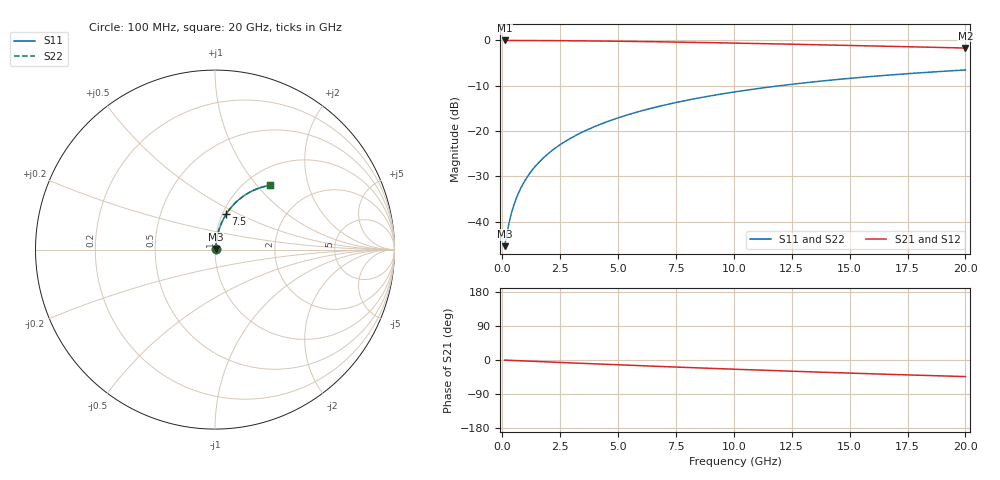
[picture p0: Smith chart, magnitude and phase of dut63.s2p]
! Touchstone file exported from HFSS 2024.1.0
!  File:  C:/UserFiles/LocalFiles/RDL_TSV_Batchsim/temp_RDL_bottom_63_1778693504.aedt
!  Generated:  01:34:40 AM May 14, 2026
!  Design:  RDL_bottom
!  Project:  temp_RDL_bottom_63_1778693504
!  Setup:  Setup1
!  Solution:  Sweep
! Variables:
!  dtsv = 10.80580581um
!  hbump = 3um
!  htsv = 92.89um
!  ldown = 588.78um
!  lrdl = 100um
!  p = 40
!  p1 = 45.25um
!  rhole = 1um
!  t = 450um
!  tdown = 3.76um
!  trdl = 3.915915916um
!  wdown = 12.54um
!  wrdl = 20um
# GHz S MA R 50.000000
! Terminal data exported
! Port[1] = RDL1_T1
! Port[2] = RDL1_T2
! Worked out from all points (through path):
!   200 points, 100 MHz to 20 GHz, reference 50 ohm
!   highest |S21| = -0.04 dB at 100 MHz (marker M1); lowest = -1.7 dB at 20 GHz (marker M2)
!   group delay of S21, straight-line fit = 6.08 ps
!   lowest |S11| = -45.4 dB at 100 MHz (marker M3), VSWR 1.01, Z = 50.5 + j0.296 ohm
!   |S11| at or under -10 dB: start of sweep to 12.02 GHz
!   |S22| runs from -45.4 to -6.5 dB; largest |S21 - S12| = 2.6e-15
!   S11 on the Smith chart (normalised r, x): 100 MHz: 1.01, +0.01; 7.5 GHz: 1.04, +0.43; 20 GHz: 1.28, +1.17
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0.1  0.005365 33.2  0.9955 -0.3  0.9955 -0.3  0.005365 33.2
! Gamma 0 0 0 0
! Port Impedance 50 0 50 0
0.2  0.007432 51.9  0.9954 -0.5  0.9954 -0.5  0.007432 51.9
0.3  0.009925 61.6  0.9953 -0.8  0.9953 -0.8  0.009925 61.6
0.4  0.01257 67.1  0.9951 -1.1  0.9951 -1.1  0.01257 67.1
0.5  0.01526 70.6  0.995 -1.3  0.995 -1.3  0.01526 70.6
0.6  0.01798 73.0  0.9948 -1.6  0.9948 -1.6  0.01798 73.0
0.8  0.02346 76.0  0.9945 -2.1  0.9945 -2.1  0.02346 76.0
1.1  0.03173 78.4  0.9939 -2.9  0.9939 -2.9  0.03173 78.4
1.5  0.04281 79.8  0.993 -3.9  0.993 -3.9  0.04281 79.8
1.8  0.05115 80.3  0.9922 -4.7  0.9922 -4.7  0.05115 80.3
2.1  0.05949 80.5  0.9913 -5.4  0.9913 -5.4  0.05949 80.5
2.7  0.07617 80.3  0.989 -7.0  0.989 -7.0  0.07617 80.3
3.5  0.09832 79.4  0.9852 -9.0  0.9852 -9.0  0.09832 79.4
4.2  0.1176 78.4  0.9812 -10.7  0.9812 -10.7  0.1176 78.4
5  0.1394 77.1  0.976 -12.7  0.976 -12.7  0.1394 77.1
5.9  0.1637 75.5  0.9693 -14.9  0.9693 -14.9  0.1637 75.5
6.8  0.1876 73.9  0.962 -17.0  0.962 -17.0  0.1876 73.9
7.5  0.2059 72.5  0.9558 -18.6  0.9558 -18.6  0.2059 72.5
10.1  0.2712 67.5  0.9306 -24.5  0.9306 -24.5  0.2712 67.5
13.4  0.3469 61.2  0.8951 -31.4  0.8951 -31.4  0.3469 61.2
16.7  0.4135 55.1  0.858 -37.8  0.858 -37.8  0.4135 55.1
20  0.4706 49.5  0.8212 -43.8  0.8212 -43.8  0.4706 49.5
